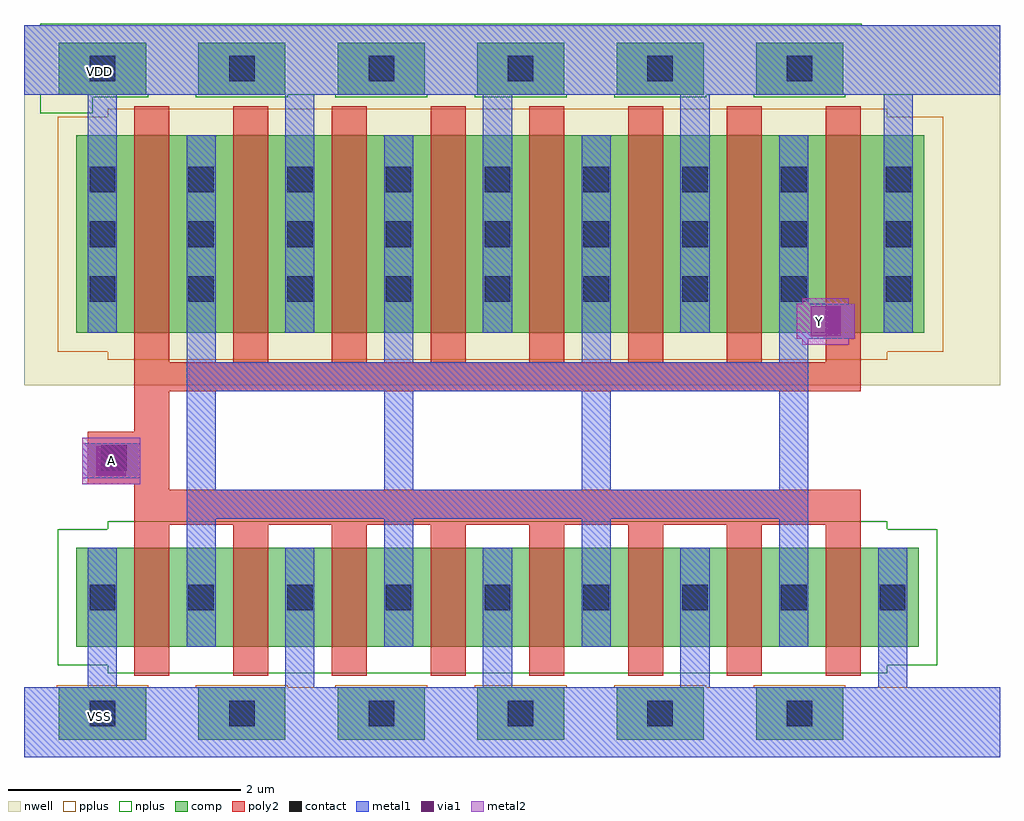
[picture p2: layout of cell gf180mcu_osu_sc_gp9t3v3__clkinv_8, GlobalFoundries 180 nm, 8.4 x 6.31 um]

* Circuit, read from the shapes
.subckt gf180mcu_osu_sc_gp9t3v3__clkinv_8 A VDD VSS Y
XM1 Y A VSS VSS nfet_03v3 w=0.85u l=0.3u m=8
XM2 Y A VDD VDD pfet_03v3 w=1.7u l=0.3u m=8
.ends

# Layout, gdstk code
import gdstk
lib = gdstk.Library(unit=1e-6, precision=1e-09)
def R(c, l, rs):  # rectangles x0, y0, x1, y1
    for r in rs: c.add(gdstk.rectangle(r[:2], r[2:], *l))
def A(c, l, x, y, w, h, nx, ny, dx, dy):  # array of equal rectangles
    R(c, l, [(x+i*dx, y+j*dy, x+i*dx+w, y+j*dy+h) for i in range(nx) for j in range(ny)])
nwell = (21, 0)
comp = (22, 0)
poly2 = (30, 0)
pplus = (31, 0)
nplus = (32, 0)
contact = (33, 0)
metal1 = (34, 0)
via1 = (35, 0)
metal2 = (36, 0)

gf180mcu_osu_sc_gp9t3v3_ = lib.new_cell('gf180mcu_osu_sc_gp9t3v3__clkinv_8')
R(gf180mcu_osu_sc_gp9t3v3_, nwell, [(0,3.2,8.4,6.3)])
A(gf180mcu_osu_sc_gp9t3v3_, comp, 0.3, 0.15, 0.75, 0.45, 6, 2, 1.2, 5.55)
R(gf180mcu_osu_sc_gp9t3v3_, comp, [(0.45,0.95,7.7,1.8), (0.45,3.65,7.75,5.35)])
A(gf180mcu_osu_sc_gp9t3v3_, poly2, 0.95, 0.7, 0.3, 1.3, 8, 1, 0.85, 0)
A(gf180mcu_osu_sc_gp9t3v3_, poly2, 0.95, 3.4, 0.3, 2.2, 8, 1, 0.85, 0)
R(gf180mcu_osu_sc_gp9t3v3_, poly2, [(0.95,2,7.2,2.3), (0.95,2.3,1.25,2.35), (0.55,2.35,1.25,2.8), (0.95,2.8,1.25,3.15), (0.95,3.15,7.2,3.4)])
A(gf180mcu_osu_sc_gp9t3v3_, pplus, 0.28, 0.13, 0.79, 0.49, 6, 1, 1.2, 0)
R(gf180mcu_osu_sc_gp9t3v3_, pplus, [(0,0,8.4,0.6), (0.72,3.42,7.43,3.49), (0.29,3.49,7.91,5.51), (0.72,5.51,7.43,5.58)])
A(gf180mcu_osu_sc_gp9t3v3_, nplus, 1.48, 5.68, 0.79, 0.02, 5, 1, 1.2, 0)
R(gf180mcu_osu_sc_gp9t3v3_, nplus, [(0.72,0.72,7.43,0.79), (0.29,0.79,7.86,1.96), (0.72,1.96,7.43,2.03), (0.14,5.54,0.59,5.68), (0.14,5.68,1.07,5.7), (0,5.7,8.4,6.3), (0,5.7,8.4,6.3), (0.14,6.3,7.21,6.31)])
A(gf180mcu_osu_sc_gp9t3v3_, contact, 0.565, 0.265, 0.22, 0.22, 6, 2, 1.2, 5.55)
A(gf180mcu_osu_sc_gp9t3v3_, contact, 0.565, 1.265, 0.22, 0.22, 9, 1, 0.85, 0)
A(gf180mcu_osu_sc_gp9t3v3_, contact, 0.565, 3.92, 0.22, 0.22, 8, 3, 0.85, 0.47)
A(gf180mcu_osu_sc_gp9t3v3_, contact, 7.415, 3.92, 0.22, 0.22, 1, 3, 0, 0.47)
R(gf180mcu_osu_sc_gp9t3v3_, contact, [(0.665,2.465,0.885,2.685)])
A(gf180mcu_osu_sc_gp9t3v3_, metal1, 0.55, 0.6, 0.25, 1.2, 5, 1, 1.7, 0)
A(gf180mcu_osu_sc_gp9t3v3_, metal1, 1.4, 0.95, 0.25, 1.1, 4, 1, 1.7, 0)
A(gf180mcu_osu_sc_gp9t3v3_, metal1, 1.4, 2.3, 0.25, 0.85, 4, 1, 1.7, 0)
A(gf180mcu_osu_sc_gp9t3v3_, metal1, 1.4, 3.4, 0.25, 1.95, 3, 1, 1.7, 0)
A(gf180mcu_osu_sc_gp9t3v3_, metal1, 0.55, 3.65, 0.25, 2.05, 4, 1, 1.7, 0)
R(gf180mcu_osu_sc_gp9t3v3_, metal1, [(0,0,8.4,0.6), (1.4,2.05,6.75,2.3), (0.5,2.4,1,2.7), (1.4,3.15,6.75,3.4), (6.5,3.4,6.75,3.6), (6.5,3.6,7.15,3.9), (7.4,3.65,7.65,5.7), (6.5,3.9,6.75,5.35), (0,5.7,8.4,6.3)])
R(gf180mcu_osu_sc_gp9t3v3_, via1, [(0.62,2.42,0.88,2.68), (6.77,3.62,7.03,3.88)])
R(gf180mcu_osu_sc_gp9t3v3_, metal2, [(0.5,2.35,1,2.75), (6.7,3.55,7.1,3.6), (6.65,3.6,7.15,3.9), (6.7,3.9,7.1,3.95)])
gf180mcu_osu_sc_gp9t3v3_.add(gdstk.Label('VDD', (0.65,5.9), layer=22, texttype=0))
gf180mcu_osu_sc_gp9t3v3_.add(gdstk.Label('VSS', (0.65,0.35), layer=22, texttype=0))
gf180mcu_osu_sc_gp9t3v3_.add(gdstk.Label('A', (0.75,2.55), layer=36, texttype=10))
gf180mcu_osu_sc_gp9t3v3_.add(gdstk.Label('Y', (6.85,3.75), layer=36, texttype=10))

lib.write_gds('gf180mcu_osu_sc_gp9t3v3__clkinv_8.gds')
